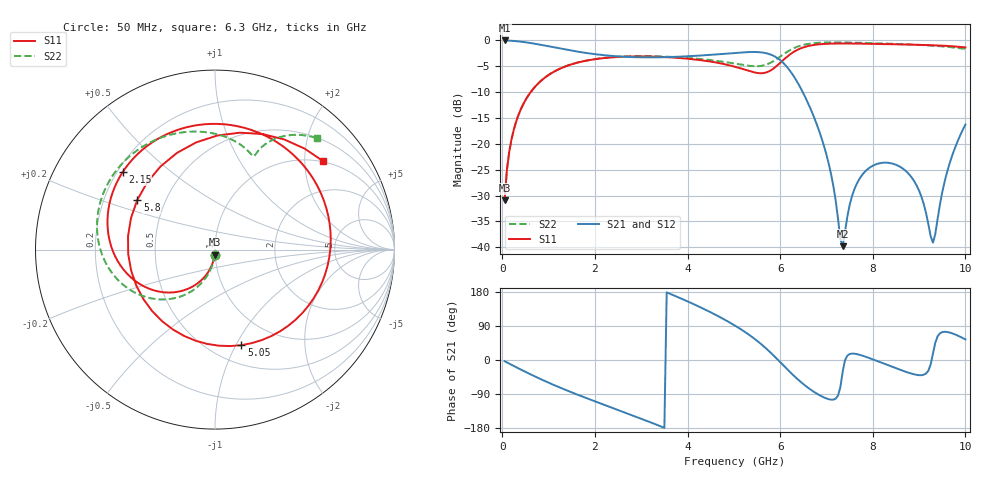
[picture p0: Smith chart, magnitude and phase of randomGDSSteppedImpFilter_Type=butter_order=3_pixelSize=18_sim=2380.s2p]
! freq	dB(S11)	phase(S11)	dB(S12)	phase(S12)
!  dB(S21)	phase(S21)	dB(S22)	phase(S22)
!S-par simulation data
#  GHz  S  DB  R 50
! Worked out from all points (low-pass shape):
!   200 points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, 50 MHz to 10 GHz, reference 50 ohm
!   highest |S21| = -0.01 dB at 50 MHz (marker M1); lowest = -39.8 dB at 7.35 GHz (marker M2)
!   |S21| within 3 dB of the highest: start of sweep to 2.382 GHz; 4.118 GHz to 5.863 GHz (1.745 GHz wide, 35 % of centre)
!   lowest |S11| = -30.9 dB at 50 MHz (marker M3), VSWR 1.06, Z = 49.7 - j2.82 ohm
!   |S11| at or under -10 dB: start of sweep to 613.2 MHz
!   |S22| runs from -30.9 to -0.4 dB; largest |S21 - S12| = 0
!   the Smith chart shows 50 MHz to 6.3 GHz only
!   S11 on the Smith chart (normalised r, x): 50 MHz: 0.99, -0.06; 2.15 GHz: 0.22, +0.35; 5.05 GHz: 0.69, -1.05; 5.8 GHz: 0.35, +0.26; 6.3 GHz: 0.98, +2.45
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0.05  -30.93 -93.7  -0.01 -3.2  -0.01 -3.2  -30.93 -93.1
0.2  -19.08 -104.2  -0.07 -12.8  -0.07 -12.8  -19.07 -102.2
0.5  -11.55 -124.5  -0.36 -31.3  -0.36 -31.3  -11.54 -119.2
1.05  -6.39 -158.9  -1.22 -62.6  -1.22 -62.6  -6.38 -147.5
1.75  -4.03 161.6  -2.35 -97.4  -2.35 -97.4  -4.01 -177.6
2.15  -3.46 139.9  -2.81 -115.9  -2.81 -115.9  -3.43 167.2
3.4  -3.17 66.7  -3.26 -174.1  -3.26 -174.1  -3.09 124.6
4.3  -3.84 0.4  -2.91 137.8  -2.91 137.8  -3.62 95.9
5.05  -5.16 -74.5  -2.40 88.9  -2.40 88.9  -4.52 74.5
5.4  -6.09 -126.3  -2.24 60.2  -2.24 60.2  -4.97 68.4
5.8  -5.78 147.4  -2.75 18.8  -2.75 18.8  -4.28 66.1
6.05  -3.93 88.8  -4.20 -11.7  -4.20 -11.7  -2.81 60.1
6.3  -2.18 39.5  -7.01 -42.0  -7.01 -42.0  -1.48 47.4
6.7  -0.92 -17.8  -14.14 -81.6  -14.14 -81.6  -0.56 22.9
7.05  -0.64 -52.8  -23.87 -103.5  -23.87 -103.5  -0.39 2.6
7.35  -0.60 -76.3  -39.77 -31.1  -39.77 -31.1  -0.40 -13.8
7.7  -0.62 -99.5  -26.94 14.3  -26.94 14.3  -0.46 -32.6
8.35  -0.72 -136.2  -23.68 -14.8  -23.68 -14.8  -0.62 -67.4
8.95  -0.84 -167.8  -28.09 -39.2  -28.09 -39.2  -0.84 -101.5
9.3  -0.94 173.1  -39.09 16.7  -39.09 16.7  -1.02 -123.1
9.6  -1.06 155.7  -25.59 74.0  -25.59 74.0  -1.23 -143.4
10  -1.35 129.7  -16.26 54.4  -16.26 54.4  -1.66 -173.8
